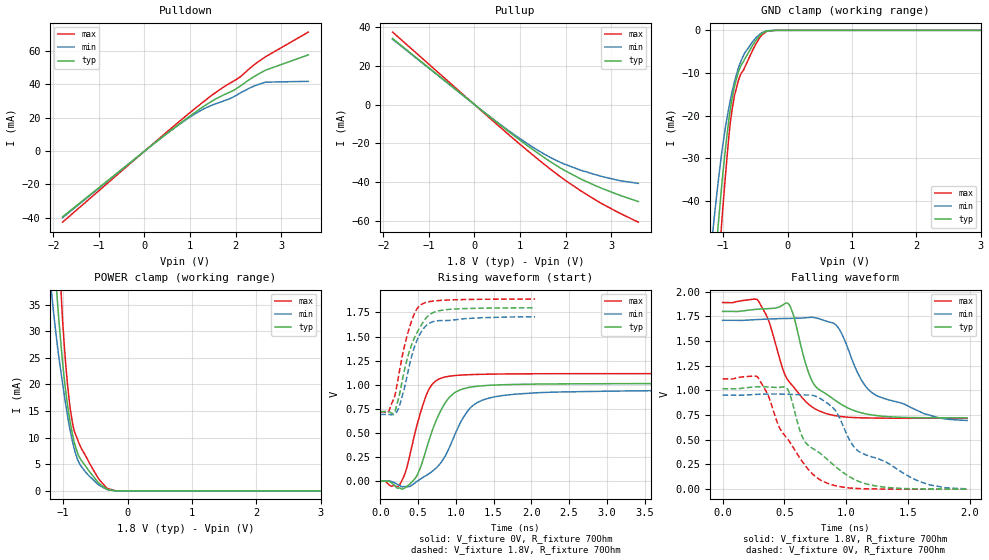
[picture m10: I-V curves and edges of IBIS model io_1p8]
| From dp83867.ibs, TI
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|   io_1p8 Model
[Model]   io_1p8
Model_type   I/O
Polarity   Non-Inverting
Enable   Active-Low
Vinl = 0.36
Vinh = 1.26
Vmeas = 0.9
Vref = 0
Cref = 5pF
Rref = 70
|   typ   min   max
|   (nom PVT)   (fast PVT)   (slow PVT)
C_comp   2.071e-12   1.493e-12   2.113e-12
[Model spec]
|subparameter
Vinl   0.36   0.342   0.378
Vinh   1.26   1.197   1.323
| Where nom  PVT is Nominal Process, 1.8V, 27C
|   Fast PVT is Strong Process,  1.89V, -40C
|   Slow PVT is Weak Process,   1.71V, 125C
[Voltage Range]   1.8   1.71   1.89
|Junction Temperature
[Temperature Range]   27   125   -40
[Pullup Reference]   1.8   1.71   1.89
[Pulldown Reference]   0   0   0
[Power Clamp Reference]   1.8   1.71   1.89
[GND Clamp Reference]   0   0   0
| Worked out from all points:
|   slope of the pulldown table from 0 to 0.27 V, typ, clamps not added: 46.2 ohm
|   slope of the pullup table from 0 to 0.27 V, typ, clamps not added: 53 ohm
|   GND clamp passes 1 mA (typ) near -0.42 V on its own axis
|   POWER clamp passes 1 mA (typ) near -0.40 V on its own axis
|   falling waveform, V_fixture 1.8V, R_fixture 70Ohm: 20-80 % time 260ps typ, 375ps min, 240ps max; typ from 1.8 V to 0.722 V
|   rising waveform, V_fixture 0V, R_fixture 70Ohm: 20-80 % time 299ps typ, 390ps min, 231ps max; typ from 0 V to 1.01 V
|   rising waveform, V_fixture 1.8V, R_fixture 70Ohm: 20-80 % time 252ps typ, 216ps min, 201ps max; typ from 0.722 V to 1.8 V
|   falling waveform, V_fixture 0V, R_fixture 70Ohm: 20-80 % time 361ps typ, 496ps min, 293ps max; typ from 1.02 V to 0 V
[Pulldown]
|   Voltage   I(typ)   I(min)   I(max)
-1.8V     -39.37mA   -39.93mA   -42.61mA
267.7mV   5.797mA    5.79mA     6.292mA
845.4mV   17.94mA    17.56mA    19.63mA
1.252V    25.94mA    24.6mA     28.68mA
1.656V    32.61mA    29.32mA    36.93mA
1.921V    35.97mA    32.05mA    41.44mA
2.107V    39.05mA    34.92mA    44.63mA
2.414V    44.81mA    39.11mA    51.89mA
2.634V    48.19mA    41.18mA    56.15mA
3.6V      57.75mA    41.86mA    71.4mA
[GND Clamp]
|   Voltage   I(typ)   I(min)   I(max)
-1.8V     -186.6mA   -154mA     -218.8mA
-1.147V   -58.12mA   -45.07mA   -71.28mA
-1.08V    -46.15mA   -35.83mA   -56.97mA
-1.022V   -36.3mA    -28.61mA   -44.99mA
-961.2mV  -27.3mA    -22.38mA   -33.48mA
-898.5mV  -19.45mA   -17.13mA   -22.89mA
-822.9mV  -13.04mA   -11.96mA   -15.21mA
-750.1mV  -9.201mA   -8.249mA   -11.16mA
-668mV    -6.808mA   -5.391mA   -8.771mA
-405mV    -822.8uA   -624uA     -1.181mA
-178.9mV  0A         0A         0A
3.6V      0A         0A         0A
[Pullup]
|   Voltage   I(typ)   I(min)   I(max)
-1.8V     34.13mA    33.76mA    37.45mA
449.1mV   -8.434mA   -8.22mA    -9.338mA
948mV     -17.47mA   -16.78mA   -19.47mA
1.449V    -26.02mA   -24.42mA   -29.26mA
1.878V    -32.61mA   -29.74mA   -37.13mA
2.358V    -38.7mA    -34.07mA   -44.89mA
2.767V    -42.96mA   -36.91mA   -50.74mA
3.127V    -46.26mA   -38.97mA   -55.33mA
3.6V      -50.1mA    -40.71mA   -60.75mA
[POWER Clamp]
|   Voltage   I(typ)   I(min)   I(max)
-1.8V     203.1mA    153.5mA    253.9mA
-1.199V   56.78mA    39.64mA    79.1mA
-1.123V   41.43mA    30.71mA    58.81mA
-1.069V   32.52mA    25.34mA    45.66mA
-1.013V   24.74mA    20.56mA    33.08mA
-952.2mV  17.97mA    15.62mA    22.72mA
-892.8mV  13.08mA    11.46mA    15.74mA
-835.6mV  9.538mA    8.3mA      11.65mA
-724.6mV  5.833mA    4.688mA    8.139mA
-429.8mV  1.28mA     983.3uA    1.974mA
-178.9mV  112.1nA    0A         0A
3.6V      0A         0A         0A
[Ramp]
R_load = 70
|   typ   min   max
dV/dt_r   0.609189/3.00493e-10   0.569268/3.89514e-10   0.669761/2.31793e-10
dV/dt_f   0.646877/2.60652e-10   0.611271/3.87703e-10   0.702931/2.39873e-10
[Falling Waveform]
V_fixture = 1.8V
V_fixture_min = 1.71V
V_fixture_max = 1.89V
R_fixture = 70Ohm
|   Time   V(typ)   V(min)   V(max)
0s        1.8V       1.71V      1.89V
290ps     1.823V     1.718V     1.907V
370ps     1.828V     1.723V     1.719V
530ps     1.882V     1.729V     1.103V
700ps     1.167V     1.739V     857mV
780ps     1.01V      1.726V     793.5mV
940ps     876mV      1.63V      738.8mV
1.09ns    785.2mV    1.187V     723.9mV
1.21ns    751.4mV    976.4mV    720.6mV
1.98ns    721.8mV    695.8mV    718.4mV
[Rising Waveform]
V_fixture = 0V
V_fixture_min = 0V
V_fixture_max = 0V
R_fixture = 70Ohm
|   Time   V(typ)   V(min)   V(max)
0s        50.3uV     144.3uV    36.17uV
250ps     -70.83mV   -43.73mV   -44.11mV
340ps     -64.05mV   -58.38mV   107.5mV
460ps     26.29mV    -19.56mV   499.5mV
630ps     383mV      68.66mV    929.9mV
810ps     744.3mV    198mV      1.069V
970ps     908.6mV    448.4mV    1.094V
1.16ns    969.9mV    730.6mV    1.104V
1.46ns    994.6mV    865mV      1.11V
4.83ns    1.012V     948.6mV    1.115V
[Rising Waveform]
V_fixture = 1.8V
V_fixture_min = 1.71V
V_fixture_max = 1.89V
R_fixture = 70Ohm
|   Time   V(typ)   V(min)   V(max)
0s        721.9mV    691.2mV    718.4mV
110ps     719.7mV    690.7mV    722.5mV
180ps     705mV      690.7mV    857.6mV
230ps     822mV      732.8mV    1.034V
310ps     1.115V     935.6mV    1.366V
380ps     1.332V     1.182V     1.577V
470ps     1.517V     1.429V     1.767V
540ps     1.615V     1.545V     1.831V
780ps     1.769V     1.665V     1.874V
2.05ns    1.799V     1.706V     1.889V
[Falling Waveform]
V_fixture = 0V
V_fixture_min = 0V
V_fixture_max = 0V
R_fixture = 70Ohm
|   Time   V(typ)   V(min)   V(max)
0s        1.017V     952.2mV    1.117V
280ps     1.037V     960.1mV    1.141V
510ps     1.032V     962.3mV    533.3mV
550ps     943mV      960.4mV    466.6mV
650ps     518.9mV    954.7mV    271.6mV
850ps     299mV      869.7mV    59.06mV
920ps     223.1mV    784.7mV    33.08mV
1.11ns    75.32mV    376.6mV    5.78mV
1.62ns    2.203mV    66.18mV    188.4uV
1.99ns    361.8uV    3.02mV     37.39uV
